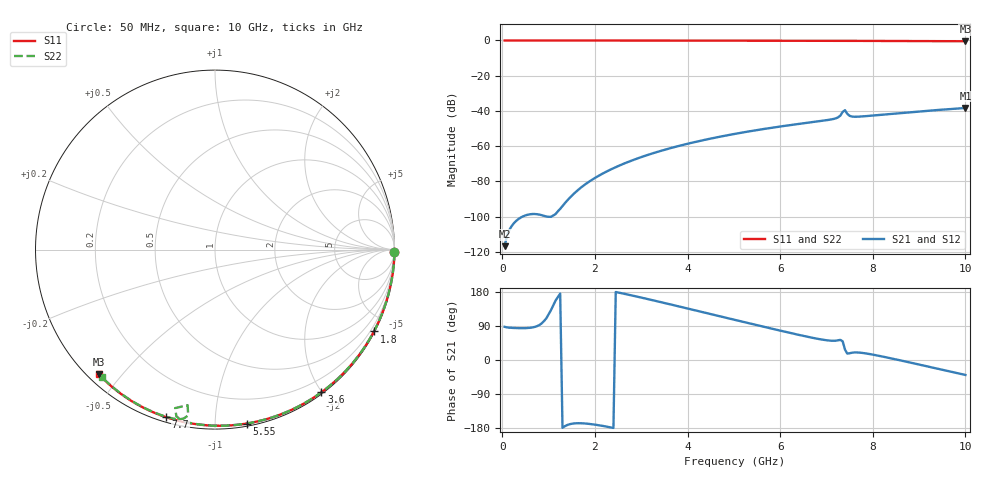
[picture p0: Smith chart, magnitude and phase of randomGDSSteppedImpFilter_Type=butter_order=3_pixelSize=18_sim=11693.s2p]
! freq	dB(S11)	phase(S11)	dB(S12)	phase(S12)
!  dB(S21)	phase(S21)	dB(S22)	phase(S22)
!S-par simulation data
#  GHz  S  DB  R 50
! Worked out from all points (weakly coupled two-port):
!   200 points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, 50 MHz to 10 GHz, reference 50 ohm
!   highest |S21| = -38.34 dB at 10 GHz (marker M1); lowest = -116.8 dB at 50 MHz (marker M2)
!   lowest |S11| = -0.4 dB at 10 GHz (marker M3), VSWR 38.62, Z = 1.54 - j21.7 ohm
!   |S11| at or under -10 dB: nowhere
!   |S22| runs from -1.1 to 0.0 dB; largest |S21 - S12| = 0
!   S11 on the Smith chart (normalised r, x): 50 MHz: open; 1.8 GHz: 0.04, -4.13; 3.6 GHz: 0.02, -1.99; 5.55 GHz: 0.02, -1.20; 7.7 GHz: 0.02, -0.75; 10 GHz: 0.03, -0.43
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0.05  -0.00 -0.8  -116.79 87.6  -116.79 87.6  -0.00 -0.8
0.9  -0.02 -13.7  -99.59 102.7  -99.59 102.7  -0.02 -13.6
1.75  -0.03 -26.5  -82.49 -167.2  -82.49 -167.2  -0.03 -26.2
1.8  -0.03 -27.2  -81.52 -167.7  -81.52 -167.7  -0.03 -27.0
1.9  -0.04 -28.7  -79.73 -168.9  -79.73 -168.9  -0.04 -28.4
2.25  -0.04 -33.9  -74.44 -175.7  -74.44 -175.7  -0.04 -33.6
2.65  -0.05 -39.7  -69.67 174.3  -69.67 174.3  -0.05 -39.3
3.4  -0.07 -50.5  -62.87 153.4  -62.87 153.4  -0.07 -50.0
3.6  -0.07 -53.3  -61.37 147.6  -61.37 147.6  -0.07 -52.8
4.3  -0.09 -62.9  -56.84 127.1  -56.84 127.1  -0.09 -62.4
5.05  -0.11 -73.0  -52.90 105.1  -52.90 105.1  -0.11 -72.4
5.55  -0.13 -79.6  -50.67 90.5  -50.67 90.5  -0.13 -78.9
6.7  -0.18 -94.1  -46.35 58.5  -46.35 58.5  -0.18 -93.5
7.2  -0.21 -100.2  -44.23 51.0  -44.23 51.0  -0.26 -100.7
7.3  -0.22 -101.5  -42.64 53.0  -42.64 53.0  -0.43 -103.1
7.35  -0.22 -102.1  -40.58 49.3  -40.58 49.3  -0.81 -104.1
7.4  -0.22 -102.7  -39.58 27.4  -39.58 27.4  -1.11 -100.0
7.45  -0.22 -103.3  -41.65 16.9  -41.65 16.9  -0.58 -99.2
7.5  -0.23 -103.9  -42.79 17.8  -42.79 17.8  -0.38 -100.5
7.7  -0.24 -106.3  -43.26 19.7  -43.26 19.7  -0.27 -104.2
8.35  -0.29 -114.0  -41.77 5.5  -41.77 5.5  -0.29 -112.4
10  -0.45 -133.1  -38.34 -39.5  -38.34 -39.5  -0.45 -131.4
